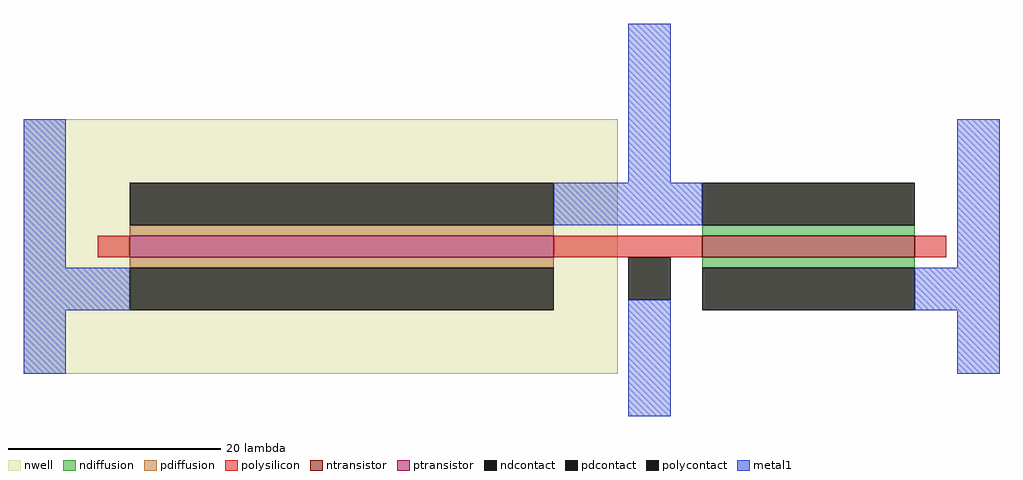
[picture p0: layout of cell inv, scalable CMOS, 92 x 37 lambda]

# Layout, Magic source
magic
tech scmos
<< nwell >>
rect 84 2 140 26
<< ntransistor >>
rect 148 13 168 15
<< ptransistor >>
rect 94 13 134 15
<< ndiffusion >>
rect 148 15 168 16
rect 148 12 168 13
<< pdiffusion >>
rect 94 15 134 16
rect 94 12 134 13
<< ndcontact >>
rect 148 16 168 20
rect 148 8 168 12
<< pdcontact >>
rect 94 16 134 20
rect 94 8 134 12
<< polysilicon >>
rect 91 13 94 15
rect 134 13 148 15
rect 168 13 171 15
<< polycontact >>
rect 141 9 145 13
<< metal1 >>
rect 84 12 88 26
rect 141 20 145 35
rect 134 16 148 20
rect 84 8 94 12
rect 172 12 176 26
rect 84 2 88 8
rect 141 -2 145 9
rect 168 8 176 12
rect 172 2 176 8
<< end >>
